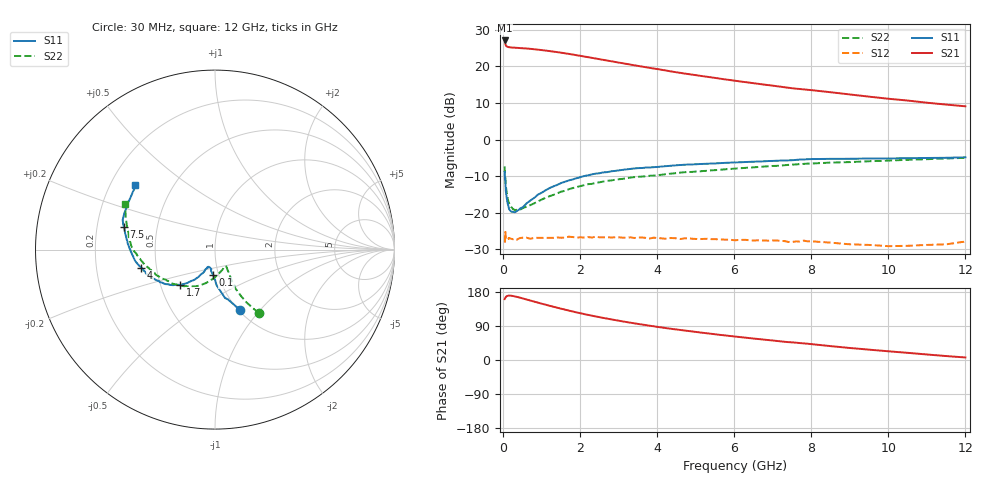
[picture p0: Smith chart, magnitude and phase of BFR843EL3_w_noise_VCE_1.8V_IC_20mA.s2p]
! Infineon Technologies  Discrete & RF Semiconductors
! BFR843EL3
! VCE =  1.8 V,  IC =  20 mA
! Common Emitter S-Parameters:  Aug 2013
# GHz  S  MA  R  50
!  f  S11  S21  S12  S22
! GHz  MAG  ANG  MAG  ANG  MAG  ANG  MAG  ANG
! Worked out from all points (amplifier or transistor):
!   103 points, 30 MHz to 12 GHz, reference 50 ohm
!   highest |S21| = 27.0 dB at 30 MHz (marker M1)
!   |S21| within 3 dB of that: start of sweep to 1.265 GHz
!   unconditionally stable (mu >= 1): 212 MHz to 407.1 MHz; 4.051 GHz to end of sweep
!   at 400 MHz: K = 1.00, MAG = 25.8 dB, |S12| = -27.0 dB
!   at 3.7 GHz: K = 0.97, MSG = 23.3 dB, |S12| = -26.9 dB
!   at 12 GHz: K = 2.14, MAG = 12.4 dB, |S12| = -27.9 dB
!   lowest NFmin = 1.09 dB at 900 MHz
!   S11 on the Smith chart (normalised r, x): 30 MHz: 1.02, -0.79; 100 MHz: 0.94, -0.27; 1.7 GHz: 0.63, -0.27; 4 GHz: 0.41, -0.10; 7.5 GHz: 0.32, +0.11; 12 GHz: 0.30, +0.32
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0.03  0.3633 -67.5  22.51 160.8  0.0408 28.0  0.4296 -55.5
0.04  0.2868 -75.4  20.93 162.6  0.04 20.9  0.341 -59.3
0.06  0.199 -87.4  19.35 166.0  0.0451 8.2  0.2428 -62.3
0.08  0.1664 -90.2  18.77 168.0  0.044 10.8  0.1969 -61.9
0.1  0.1419 -94.0  18.49 169.1  0.0446 7.7  0.17 -60.5
0.15  0.1113 -100.5  18.18 170.0  0.0453 8.4  0.1337 -58.4
0.25  0.1027 -108.6  17.98 168.8  0.0435 3.5  0.112 -56.8
0.7  0.147 -117.2  17.29 156.9  0.0442 2.7  0.1273 -76.0
1.2  0.2178 -126.8  16.12 143.1  0.0455 2.9  0.1686 -96.5
1.7  0.2768 -134.6  14.75 130.4  0.0472 2.6  0.2101 -111.1
2.1  0.3174 -141.7  13.58 121.1  0.0459 1.6  0.2385 -120.8
2.6  0.3562 -149.4  12.21 110.9  0.0462 1.9  0.2672 -130.3
3  0.3798 -155.0  11.21 103.6  0.0462 2.0  0.2869 -136.7
3.5  0.4072 -161.1  10.1 95.1  0.0458 0.4  0.3092 -143.9
4  0.4219 -166.3  9.15 87.4  0.0453 0.4  0.3258 -149.5
4.1  0.4276 -167.1  8.967 86.0  0.0448 0.9  0.33 -150.2
5.1  0.463 -176.7  7.421 72.7  0.0437 2.0  0.3678 -160.8
6.1  0.4882 175.5  6.256 61.0  0.0425 1.6  0.4047 -169.0
7.5  0.522 166.0  5.011 46.5  0.0399 5.0  0.4544 -179.8
8.5  0.5446 157.9  4.42 36.6  0.0391 3.3  0.4842 172.3
10.5  0.5555 146.8  3.404 18.9  0.0354 18.6  0.528 160.3
12  0.5716 141.2  2.84 6.7  0.0405 32.6  0.5625 153.3
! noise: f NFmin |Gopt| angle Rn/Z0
0.45  1.1  0.09  143  0.13
0.9  1.09  0.1  141  0.12
1.5  1.11  0.11  142  0.11
1.9  1.12  0.11  145  0.11
2.4  1.13  0.12  148  0.1
3.5  1.15  0.15  156  0.1
5.5  1.18  0.21  176  0.1
8  1.22  0.32  197  0.08
10  1.25  0.45  220  0.08
